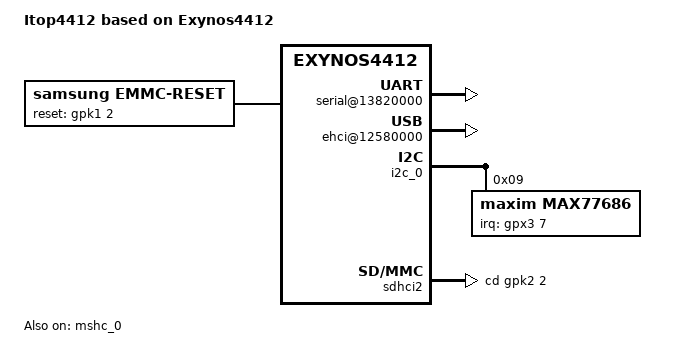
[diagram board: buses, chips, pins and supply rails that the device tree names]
/*
 * Odroid-U3/X2 board device tree source
 *
 * Copyright (c) 2014 Samsung Electronics Co., Ltd.
 *		http://www.samsung.com
 *
 * SPDX-License-Identifier:	GPL-2.0+
 */

/dts-v1/;
#include "exynos4412.dtsi"

/ {
	model = "Itop4412 based on Exynos4412";
	compatible = "samsung,itop4412", "samsung,exynos4412";

	aliases {
		serial0 = "/serial@13820000";
		console = "/serial@13820000";
		mmc0 = &mshc_0;
		mmc1 = &sdhci2;
	};

	serial@13820000 {
		status = "okay";
	};

	ehci@12580000 {
		compatible = "samsung,exynos-ehci";
		reg = <0x12580000 0x100>;
		#address-cells = <1>;
		#size-cells = <1>;
		phy {
			compatible = "samsung,exynos-usb-phy";
			reg = <0x125B0000 0x100>;
		};
	};

	emmc-reset {
		compatible = "samsung,emmc-reset";
		reset-gpio = <&gpk1 2 0>;
	};
};

&i2c_0 {
	samsung,i2c-sda-delay = <100>;
	samsung,i2c-slave-addr = <0x10>;
	samsung,i2c-max-bus-freq = <100000>;
	status = "okay";

	max77686: max77686_pmic@09 {
		compatible = "maxim,max77686";
		interrupt-parent = <&gpx3>;
		interrupts = <7 0>;
		reg = <0x09 0 0>;
		#clock-cells = <1>;

	};
};

&sdhci2 {
	samsung,bus-width = <4>;
	samsung,timing = <1 2 3>;
	cd-gpios = <&gpk2 2 0>;
	status = "okay";
};

&mshc_0 {
	samsung,bus-width = <8>;
	samsung,timing = <2 1 0>;
	samsung,removable = <0>;
	fifoth_val = <0x203f0040>;
	bus_hz = <400000000>;
	div = <0x3>;
	index = <4>;
	status = "okay";
};
